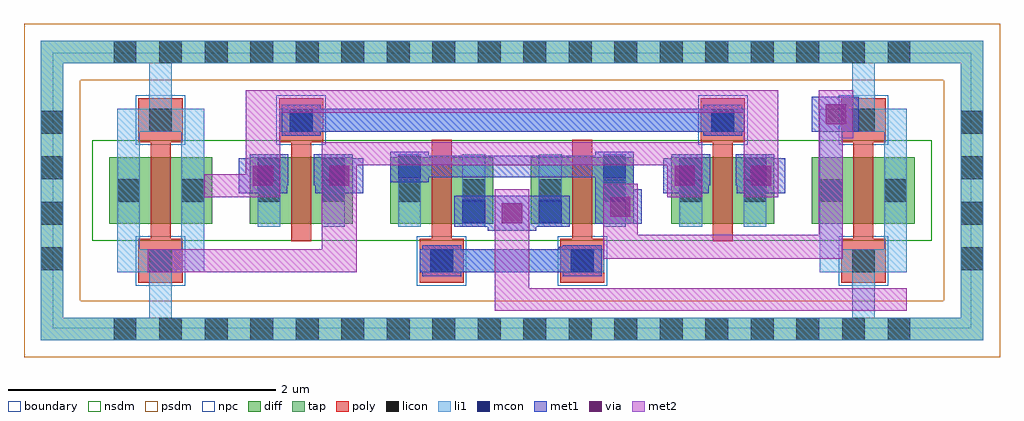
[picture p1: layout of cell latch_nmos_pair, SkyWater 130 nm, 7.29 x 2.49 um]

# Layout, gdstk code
import gdstk
lib = gdstk.Library(unit=1e-6, precision=1e-09)
def R(c, l, rs):  # rectangles x0, y0, x1, y1
    for r in rs: c.add(gdstk.rectangle(r[:2], r[2:], *l))
def A(c, l, x, y, w, h, nx, ny, dx, dy):  # array of equal rectangles
    R(c, l, [(x+i*dx, y+j*dy, x+i*dx+w, y+j*dy+h) for i in range(nx) for j in range(ny)])
diff = (65, 20)
tap = (65, 44)
poly = (66, 20)
licon = (66, 44)
li1 = (67, 20)
mcon = (67, 44)
met1 = (68, 20)
via = (68, 44)
met2 = (69, 20)
nsdm = (93, 44)
psdm = (94, 20)
npc = (95, 20)
boundary = (235, 4)

latch_nmos_pair = lib.new_cell('latch_nmos_pair')
A(latch_nmos_pair, diff, -3.01, -0.25, 0.77, 0.5, 6, 1, 1.05, 0)
R(latch_nmos_pair, tap, [(-3.52,-1.12,3.52,-0.95), (-3.52,-0.95,-3.35,0.95), (3.35,-0.95,3.52,0.95), (-3.52,0.95,3.52,1.12)])
R(latch_nmos_pair, poly, [(-2.79,-0.69,-2.46,-0.36), (-0.69,-0.69,-0.36,-0.36), (0.36,-0.69,0.69,-0.36), (2.46,-0.69,2.79,-0.36), (-1.65,-0.38,-1.5,0.36), (1.5,-0.38,1.65,0.36), (-2.7,-0.36,-2.55,0.36), (-0.6,-0.36,-0.45,0.38), (0.45,-0.36,0.6,0.38), (2.55,-0.36,2.7,0.36), (-2.79,0.36,-2.46,0.69), (-1.74,0.36,-1.41,0.69), (1.41,0.36,1.74,0.69), (2.46,0.36,2.79,0.69)])
A(latch_nmos_pair, licon, -2.975, -1.12, 0.17, 0.17, 18, 2, 0.34, 2.07)
A(latch_nmos_pair, licon, -3.52, -0.595, 0.17, 0.17, 1, 4, 0, 0.34)
A(latch_nmos_pair, licon, 3.35, -0.595, 0.17, 0.17, 1, 4, 0, 0.34)
R(latch_nmos_pair, licon, [(-2.71,-0.61,-2.54,-0.44), (-0.61,-0.61,-0.44,-0.44), (0.44,-0.61,0.61,-0.44), (2.54,-0.61,2.71,-0.44), (-2.95,-0.085,-2.78,0.085), (-2.47,-0.085,-2.3,0.085), (-1.9,-0.085,-1.73,0.085), (-1.42,-0.085,-1.25,0.085), (-0.85,-0.085,-0.68,0.085), (-0.37,-0.085,-0.2,0.085), (0.2,-0.085,0.37,0.085), (0.68,-0.085,0.85,0.085), (1.25,-0.085,1.42,0.085), (1.73,-0.085,1.9,0.085), (2.3,-0.085,2.47,0.085), (2.78,-0.085,2.95,0.085), (-2.71,0.44,-2.54,0.61), (-1.66,0.44,-1.49,0.61), (1.49,0.44,1.66,0.61), (2.54,0.44,2.71,0.61)])
R(latch_nmos_pair, li1, [(-3.52,-1.12,3.52,-0.95), (-3.52,-0.95,-3.35,0.95), (-2.71,-0.95,-2.54,-0.61), (2.54,-0.95,2.71,-0.61), (3.35,-0.95,3.52,0.95), (-2.95,-0.61,-2.3,-0.44), (-0.69,-0.61,0.69,-0.44), (2.3,-0.61,2.95,-0.44), (-2.95,-0.44,-2.78,0.44), (-2.47,-0.44,-2.3,0.44), (2.3,-0.44,2.47,0.44), (2.78,-0.44,2.95,0.44), (-1.9,-0.27,-1.73,0.27), (-1.42,-0.27,-1.25,0.27), (-0.85,-0.27,-0.68,0.27), (-0.37,-0.27,-0.2,0.27), (0.2,-0.27,0.37,0.27), (0.68,-0.27,0.85,0.27), (1.25,-0.27,1.42,0.27), (1.73,-0.27,1.9,0.27), (-2.95,0.44,-2.3,0.61), (-1.74,0.44,1.74,0.61), (2.3,0.44,2.95,0.61), (-2.71,0.61,-2.54,0.95), (2.54,0.61,2.71,0.95), (-3.52,0.95,3.52,1.12)])
R(latch_nmos_pair, mcon, [(-0.61,-0.61,-0.44,-0.44), (0.44,-0.61,0.61,-0.44), (-0.37,-0.24,-0.2,-0.07), (0.2,-0.24,0.37,-0.07), (-1.9,0.07,-1.73,0.24), (-1.42,0.07,-1.25,0.24), (1.25,0.07,1.42,0.24), (1.73,0.07,1.9,0.24), (-0.85,0.09,-0.68,0.26), (0.68,0.09,0.85,0.26), (-1.66,0.44,-1.49,0.61), (1.49,0.44,1.66,0.61)])
R(latch_nmos_pair, met1, [(-0.67,-0.64,-0.38,-0.61), (0.38,-0.64,0.67,-0.61), (-0.69,-0.61,0.67,-0.44), (-0.67,-0.44,-0.38,-0.41), (0.35,-0.44,0.67,-0.42), (0.38,-0.42,0.67,-0.41), (-0.18,-0.3,0.18,-0.27), (-0.43,-0.27,0.43,-0.04), (0.62,-0.25,0.97,0.01), (-2.04,-0.02,-1.68,0.04), (-1.47,-0.02,-1.11,0.04), (1.13,-0.02,1.47,0.04), (1.68,-0.02,2.04,0.04), (0.62,0.01,0.91,0.1), (-2.04,0.04,-1.67,0.24), (-1.48,0.04,-1.11,0.24), (1.13,0.04,1.48,0.24), (1.67,0.04,2.04,0.24), (-0.91,0.06,-0.62,0.1), (-0.91,0.1,0.91,0.26), (-1.96,0.24,-1.67,0.27), (-1.48,0.24,-1.19,0.27), (1.19,0.24,1.48,0.27), (1.67,0.24,1.96,0.27), (-0.91,0.26,-0.62,0.29), (0.62,0.26,0.91,0.29), (-1.72,0.41,-1.43,0.44), (1.43,0.41,1.72,0.44), (-1.72,0.44,1.74,0.61), (2.24,0.44,2.59,0.7), (-1.72,0.61,-1.43,0.64), (1.43,0.61,1.72,0.64)])
R(latch_nmos_pair, via, [(-0.075,-0.245,0.075,-0.095), (0.735,-0.195,0.885,-0.045), (-1.935,0.035,-1.785,0.185), (-1.365,0.035,-1.215,0.185), (1.215,0.035,1.365,0.185), (1.785,0.035,1.935,0.185), (2.345,0.495,2.495,0.645)])
R(latch_nmos_pair, met2, [(-0.13,-0.9,2.95,-0.73), (-0.13,-0.73,0.13,0.01), (-2.72,-0.61,-1.16,-0.44), (0.68,-0.51,2.47,-0.33), (-1.42,-0.44,-1.16,0.19), (0.68,-0.33,0.94,0.05), (2.29,-0.33,2.47,0.39), (-2.3,-0.05,-1.73,0.12), (1.16,-0.05,1.42,0.19), (1.73,-0.05,1.99,0.58), (-1.99,0.12,-1.73,0.58), (-1.42,0.19,1.42,0.36), (2.29,0.39,2.55,0.75), (-1.99,0.58,1.99,0.75)])
R(latch_nmos_pair, nsdm, [(-3.135,-0.375,3.135,0.375)])
R(latch_nmos_pair, psdm, [(-3.645,-1.245,3.645,-0.825), (-3.645,-0.825,-3.225,0.825), (3.225,-0.825,3.645,0.825), (-3.645,0.825,3.645,1.245)])
R(latch_nmos_pair, npc, [(-2.81,-0.71,-2.44,-0.34), (-0.71,-0.71,-0.34,-0.34), (0.34,-0.71,0.71,-0.34), (2.44,-0.71,2.81,-0.34), (-2.81,0.34,-2.44,0.71), (-1.76,0.34,-1.39,0.71), (1.39,0.34,1.76,0.71), (2.44,0.34,2.81,0.71)])
R(latch_nmos_pair, boundary, [(-3.43,-1.03,3.43,1.03)])

lib.write_gds('latch_nmos_pair.gds')
